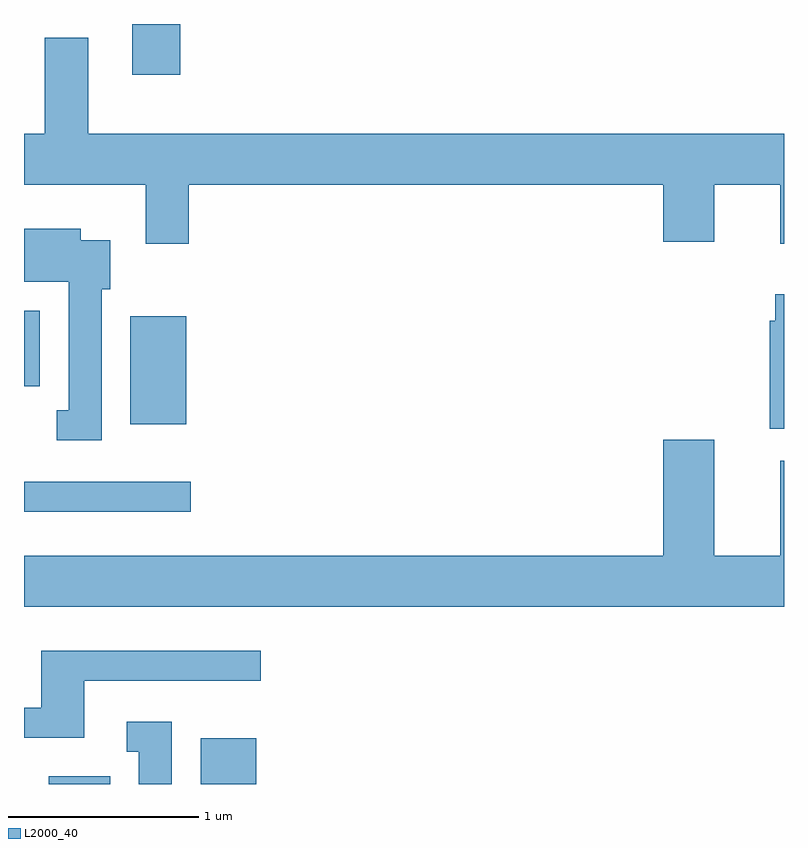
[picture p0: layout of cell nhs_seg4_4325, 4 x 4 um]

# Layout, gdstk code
import gdstk
lib = gdstk.Library(unit=1e-6, precision=1e-09)
def R(c, l, rs):  # rectangles x0, y0, x1, y1
    for r in rs: c.add(gdstk.rectangle(r[:2], r[2:], *l))
def P(c, l, *ps):  # polygons
    for p in ps: c.add(gdstk.Polygon(p, *l))
L2000_40 = (2000, 40)

nhs_seg4_4325 = lib.new_cell('nhs_seg4_4325')
R(nhs_seg4_4325, L2000_40, [(311.741,1335.982,312.064,1336.024), (312.541,1335.982,312.834,1336.224), (311.611,1337.416,312.488,1337.574), (312.171,1337.876,312.464,1338.444), (311.611,1338.076,311.694,1338.474), (312.181,1339.716,312.434,1339.982)])
P(nhs_seg4_4325, L2000_40, [(311.949,1339.909),(311.721,1339.909),(311.721,1339.404),(311.611,1339.404),(311.611,1339.136),(312.251,1339.136),(312.251,1338.826),(312.479,1338.826),(312.479,1339.136),(314.976,1339.136),(314.976,1338.836),(315.244,1338.836),(315.244,1339.136),(315.591,1339.136),(315.591,1338.826),(315.611,1338.826),(315.611,1339.404),(311.949,1339.404)],
  [(312.019,1338.586),(312.064,1338.586),(312.064,1338.844),(311.909,1338.844),(311.909,1338.904),(311.611,1338.904),(311.611,1338.626),(311.846,1338.626),(311.846,1337.949),(311.783,1337.949),(311.783,1337.791),(312.019,1337.791)],
  [(315.611,1338.559),(315.566,1338.559),(315.566,1338.419),(315.536,1338.419),(315.536,1337.851),(315.611,1337.851)],
  [(315.611,1337.684),(315.591,1337.684),(315.591,1337.184),(315.244,1337.184),(315.244,1337.794),(314.976,1337.794),(314.976,1337.184),(311.611,1337.184),(311.611,1336.916),(315.611,1336.916)],
  [(311.929,1336.526),(312.858,1336.526),(312.858,1336.684),(311.701,1336.684),(311.701,1336.384),(311.611,1336.384),(311.611,1336.226),(311.929,1336.226)],
  [(312.389,1336.309),(312.153,1336.309),(312.153,1336.151),(312.216,1336.151),(312.216,1335.982),(312.389,1335.982)])

lib.write_gds('nhs_seg4_4325.gds')
